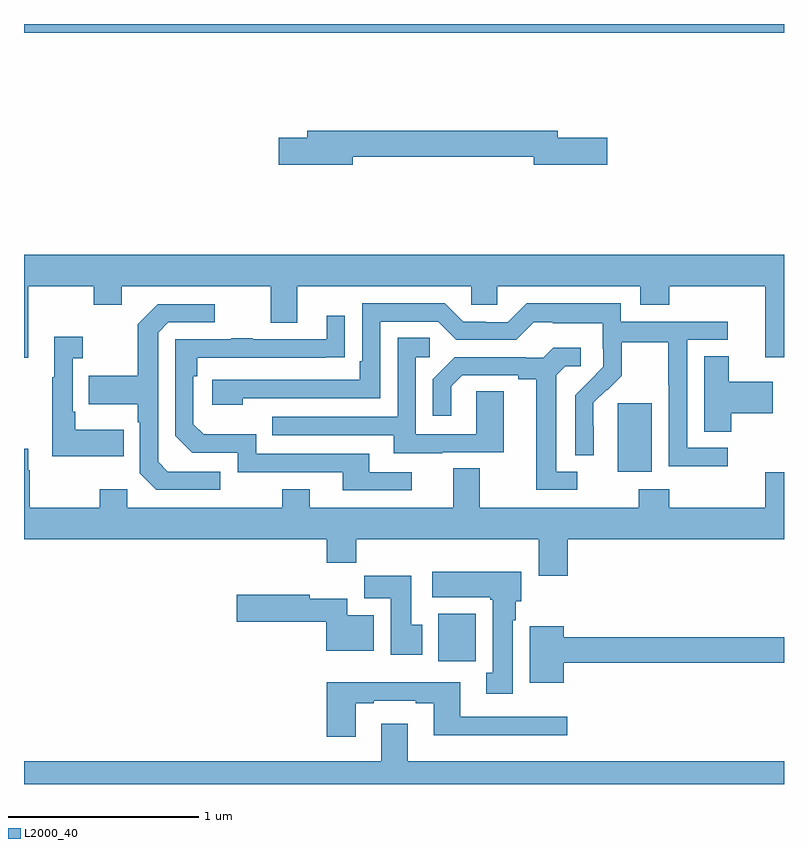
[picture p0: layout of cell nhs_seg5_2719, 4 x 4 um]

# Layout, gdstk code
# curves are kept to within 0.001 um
import gdstk
lib = gdstk.Library(unit=1e-6, precision=1e-09)
def R(c, l, rs):  # rectangles x0, y0, x1, y1
    for r in rs: c.add(gdstk.rectangle(r[:2], r[2:], *l))
def P(c, l, *ps):  # polygons
    for p in ps: c.add(gdstk.Polygon(p, *l))
L2000_40 = (2000, 40)

nhs_seg5_2719 = lib.new_cell('nhs_seg5_2719')
R(nhs_seg5_2719, L2000_40, [(271.181,861.444,271.377,861.694), (272.126,862.442,272.305,862.803), (269,864.752,273,864.799)])
P(nhs_seg5_2719, L2000_40, [(270.73,864.1),(271.682,864.1),(271.682,864.058),(272.071,864.058),(272.071,864.2),(271.81,864.2),(271.81,864.236),(270.491,864.236),(270.491,864.2),(270.342,864.2),(270.342,864.058),(270.73,864.058)],
  [(269.023,863.42),(269.368,863.42),(269.368,863.321),(269.515,863.321),(269.515,863.42),(270.299,863.42),(270.299,863.226),(270.439,863.226),(270.439,863.42),(271.353,863.42),(271.353,863.322),(271.491,863.322),(271.491,863.42),(272.243,863.42),(272.243,863.321),(272.396,863.321),(272.396,863.42),(272.9,863.42),(272.9,863.046),(273,863.046),(273,863.584),(269,863.584),(269,863.043),(269.023,863.043)],
  [(272.704,862.569),(272.49,862.569),(272.49,863.136),(272.704,863.136),(272.704,863.232),(272.142,863.232),(272.142,863.329),(271.645,863.329),(271.545,863.229),(271.43,863.229),(271.43,863.232),(271.311,863.232),(271.215,863.328),(270.78,863.328),(270.78,863.023),(270.767,863.023),(270.767,862.926),(269.991,862.926),(269.991,862.796),(270.152,862.796),(270.152,862.83),(270.876,862.83),(270.876,863.232),(271.179,863.232),(271.275,863.136),(271.59,863.136),(271.683,863.229),(271.783,863.229),(271.783,863.225),(272.046,863.225),(272.046,863.091),(272.048,863.091),(272.048,862.994),(271.902,862.846),(271.902,862.528),(271.998,862.528),(271.997,862.805),(272.067,862.875),(272.07,862.872),(272.147,862.949),(272.147,863.124),(272.392,863.124),(272.392,862.9),(272.394,862.9),(272.394,862.471),(272.704,862.471)],
  [(270.034,862.443),(269.757,862.443),(269.706,862.494),(269.706,863.175),(269.76,863.229),(270.004,863.229),(270.004,863.325),(269.703,863.325),(269.598,863.219),(269.598,862.947),(269.341,862.947),(269.341,862.799),(269.598,862.799),(269.598,862.703),(269.61,862.703),(269.61,862.434),(269.697,862.347),(270.034,862.347)],
  [(271.042,862.44),(270.817,862.44),(270.817,862.536),(270.222,862.536),(270.222,862.639),(269.945,862.639),(269.892,862.692),(269.892,862.946),(269.912,862.946),(269.912,863.043),(270.689,863.044),(270.689,863.263),(270.593,863.263),(270.593,863.139),(270.203,863.139),(270.203,863.144),(270.091,863.144),(270.091,863.139),(269.796,863.139),(269.796,862.632),(269.886,862.542),(270.126,862.542),(270.126,862.44),(270.677,862.44),(270.677,862.344),(271.042,862.344)],
  [(269.525,862.663),(269.269,862.663),(269.269,862.759),(269.256,862.759),(269.256,863.039),(269.308,863.039),(269.308,863.152),(269.159,863.152),(269.159,862.939),(269.148,862.939),(269.148,862.523),(269.525,862.523)],
  [(271.201,862.545),(271.525,862.545),(271.525,862.865),(271.38,862.865),(271.38,862.641),(271.062,862.641),(271.062,863.046),(271.135,863.046),(271.135,863.147),(270.966,863.147),(270.966,862.731),(270.307,862.731),(270.307,862.635),(270.947,862.635),(270.947,862.541),(271.201,862.541)],
  [(271.912,862.443),(271.801,862.443),(271.801,862.951),(271.848,862.998),(271.93,862.998),(271.93,863.095),(271.786,863.095),(271.734,863.043),(271.64,863.043),(271.64,863.046),(271.268,863.046),(271.152,862.93),(271.152,862.737),(271.249,862.737),(271.249,862.893),(271.306,862.95),(271.601,862.95),(271.601,862.928),(271.697,862.928),(271.697,862.347),(271.912,862.347)],
  [(272.723,862.75),(272.941,862.75),(272.941,862.915),(272.71,862.915),(272.71,863.051),(272.579,863.051),(272.579,862.654),(272.723,862.654)],
  [(271.862,862.088),(273,862.088),(273,862.441),(272.9,862.441),(272.9,862.252),(272.396,862.252),(272.396,862.351),(272.236,862.351),(272.236,862.252),(271.399,862.252),(271.399,862.46),(271.259,862.46),(271.259,862.252),(270.505,862.252),(270.505,862.351),(270.358,862.351),(270.358,862.252),(269.544,862.252),(269.544,862.351),(269.398,862.351),(269.398,862.252),(269.031,862.252),(269.031,862.451),(269.023,862.451),(269.023,862.564),(269,862.564),(269,862.088),(270.593,862.088),(270.593,861.964),(270.749,861.964),(270.749,862.088),(271.709,862.088),(271.709,861.894),(271.862,861.894)],
  [(271.573,861.662),(271.588,861.662),(271.588,861.762),(271.618,861.762),(271.618,861.916),(271.149,861.916),(271.149,861.782),(271.453,861.782),(271.453,861.769),(271.466,861.769),(271.466,861.385),(271.433,861.385),(271.433,861.273),(271.573,861.273)],
  [(271.096,861.636),(271.039,861.636),(271.039,861.895),(270.79,861.895),(270.79,861.776),(270.929,861.776),(270.929,861.48),(271.096,861.48)],
  [(270.841,861.688),(270.7,861.688),(270.7,861.775),(270.504,861.775),(270.504,861.795),(270.12,861.795),(270.12,861.653),(270.59,861.653),(270.59,861.5),(270.841,861.5)],
  [(271.84,861.436),(273,861.436),(273,861.572),(271.84,861.572),(271.84,861.628),(271.661,861.628),(271.661,861.332),(271.84,861.332)],
  [(270.745,861.225),(270.841,861.225),(270.841,861.237),(271.061,861.237),(271.061,861.225),(271.157,861.225),(271.157,861.056),(271.858,861.056),(271.858,861.153),(271.297,861.153),(271.297,861.334),(270.593,861.334),(270.593,861.048),(270.745,861.048)],
  [(273,860.92),(271.021,860.92),(271.021,861.115),(270.881,861.115),(270.881,860.92),(269,860.92),(269,860.799),(273,860.799)])

lib.write_gds('nhs_seg5_2719.gds')
